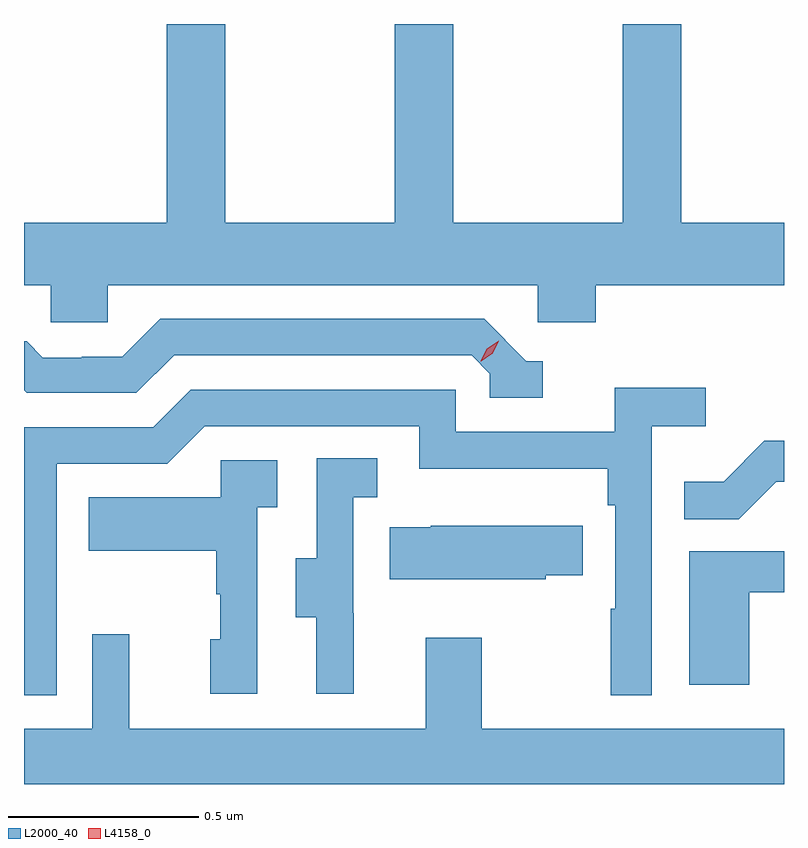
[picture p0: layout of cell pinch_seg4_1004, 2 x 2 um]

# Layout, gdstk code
import gdstk
lib = gdstk.Library(unit=1e-6, precision=1e-09)
def P(c, l, *ps):  # polygons
    for p in ps: c.add(gdstk.Polygon(p, *l))
L2000_40 = (2000, 40)
L4158_0 = (4158, 0)

pinch_seg4_1004 = lib.new_cell('pinch_seg4_1004')
P(pinch_seg4_1004, L2000_40, [(885.537,780.836),(886.668,780.836),(886.668,780.738),(886.82,780.738),(886.82,780.836),(887.316,780.836),(887.316,781),(887.046,781),(887.046,781.523),(886.891,781.523),(886.891,781),(886.446,781),(886.446,781.523),(886.291,781.523),(886.291,781),(885.846,781),(885.846,781.523),(885.691,781.523),(885.691,781),(885.316,781),(885.316,780.836),(885.387,780.836),(885.387,780.738),(885.537,780.738)],
  [(886.681,780.636),(886.638,780.636),(886.527,780.747),(885.674,780.747),(885.575,780.648),(885.468,780.648),(885.468,780.645),(885.365,780.645),(885.323,780.688),(885.316,780.688),(885.316,780.559),(885.323,780.552),(885.612,780.552),(885.711,780.651),(886.494,780.651),(886.542,780.603),(886.542,780.54),(886.681,780.54)],
  [(885.402,780.366),(885.693,780.366),(885.792,780.465),(886.356,780.465),(886.356,780.353),(886.852,780.353),(886.852,780.257),(886.872,780.257),(886.872,779.984),(886.86,779.984),(886.86,779.757),(886.968,779.757),(886.968,780.464),(887.11,780.464),(887.11,780.566),(886.871,780.566),(886.871,780.45),(886.452,780.45),(886.452,780.561),(885.755,780.561),(885.656,780.462),(885.316,780.462),(885.316,779.757),(885.402,779.757)],
  [(887.295,780.318),(887.316,780.318),(887.316,780.426),(887.264,780.426),(887.157,780.319),(887.053,780.319),(887.053,780.22),(887.197,780.22)],
  [(886.184,779.973),(886.182,779.973),(886.182,780.277),(886.246,780.277),(886.246,780.38),(886.086,780.38),(886.086,780.117),(886.031,780.117),(886.031,779.962),(886.085,779.962),(886.085,779.76),(886.184,779.76)],
  [(885.93,780.251),(885.982,780.251),(885.982,780.375),(885.834,780.375),(885.834,780.277),(885.487,780.277),(885.487,780.137),(885.822,780.137),(885.822,780.023),(885.832,780.023),(885.832,779.904),(885.806,779.904),(885.806,779.76),(885.93,779.76)],
  [(886.689,780.073),(886.787,780.073),(886.787,780.202),(886.387,780.202),(886.387,780.199),(886.279,780.199),(886.279,780.062),(886.689,780.062)],
  [(887.224,780.027),(887.316,780.027),(887.316,780.135),(887.066,780.135),(887.066,779.784),(887.224,779.784)],
  [(887.316,779.668),(886.521,779.668),(886.521,779.908),(886.373,779.908),(886.373,779.668),(885.593,779.668),(885.593,779.917),(885.495,779.917),(885.495,779.668),(885.316,779.668),(885.316,779.523),(887.316,779.523)])
P(pinch_seg4_1004, L4158_0, [(886.518,780.636),(886.518,780.636),(886.534,780.669),(886.565,780.689),(886.565,780.689),(886.565,780.689),(886.549,780.656),(886.519,780.636)])

lib.write_gds('pinch_seg4_1004.gds')
